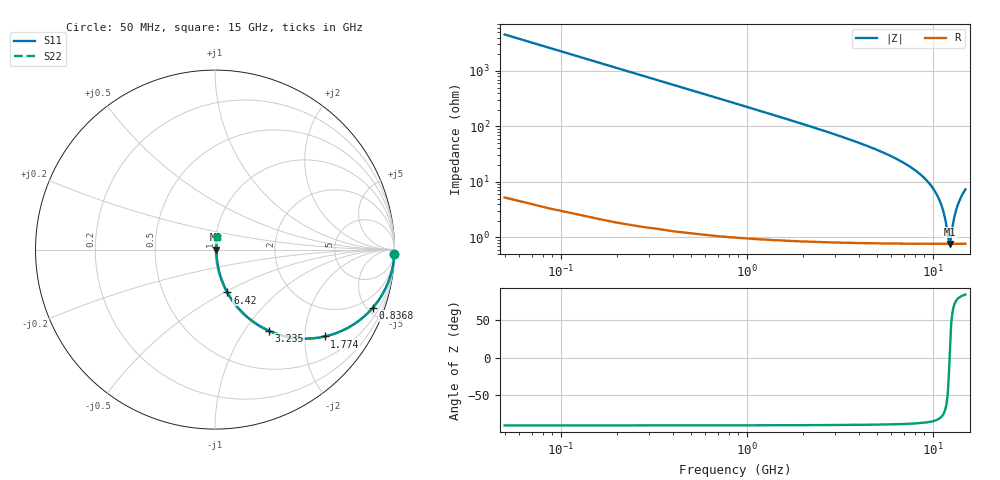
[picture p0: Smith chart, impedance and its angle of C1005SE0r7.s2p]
!	AVX	Thin	Film	Operation
!	Date:	March 2012
!	Description: Ultra-Miniature 01005 Size ACCU - P® Thin Film RF / Microwave Capacitor
!	Part Number:  C005YJ0R7ABSTR
!	Serial	Measurements
#	MHz	S	db	R	50
!	S11	S21	S12	S22
!	dB	Phase	dB	Phase	dB	Phase	dB	Phase
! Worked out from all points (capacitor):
!   400 points, 50 MHz to 15 GHz, reference 50 ohm
!   read as one part in series: C = 700 fF near 124.9 MHz
!   lowest |Z| = 764 mohm at 12.34 GHz (marker M1)
!   series resonance near 12.33 GHz, so ESL is about 240 pH
!   S11 on the Smith chart (normalised r, x): 50 MHz: 1, -91; 836.8 MHz: 1.02, -5.41; 1.774 GHz: 1.02, -2.51; 3.235 GHz: 1.02, -1.31; 6.42 GHz: 1.02, -0.52; 15 GHz: 1.02, +0.15
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50  -0.00 -1.3  -33.16 88.7  -33.16 88.7  -0.00 -1.3
87.469  -0.01 -2.2  -28.30 87.7  -28.30 87.7  -0.01 -2.2
124.937  -0.01 -3.1  -25.21 86.8  -25.21 86.8  -0.01 -3.1
274.812  -0.07 -6.9  -18.41 83.0  -18.41 83.0  -0.07 -6.9
499.624  -0.21 -12.4  -13.36 77.4  -13.36 77.4  -0.21 -12.4
836.842  -0.57 -20.3  -9.21 69.5  -9.21 69.5  -0.57 -20.3
1773.559  -2.16 -38.4  -4.14 51.2  -4.14 51.2  -2.16 -38.4
2560.401  -3.82 -49.3  -2.40 40.1  -2.40 40.1  -3.82 -49.3
3234.837  -5.28 -56.3  -1.60 33.0  -1.60 33.0  -5.28 -56.3
5070.802  -9.20 -68.5  -0.62 20.3  -0.62 20.3  -9.20 -68.5
6419.674  -12.10 -73.9  -0.34 14.4  -0.34 14.4  -12.10 -73.9
7543.734  -14.70 -77.1  -0.22 10.6  -0.22 10.6  -14.70 -77.1
10016.67  -22.30 -80.0  -0.09 4.4  -0.09 4.4  -22.30 -80.0
11328.07  -29.91 -74.5  -0.07 1.8  -0.07 1.8  -29.91 -74.5
11702.76  -33.73 -67.3  -0.07 1.1  -0.07 1.1  -33.73 -67.3
12189.85  -41.24 -28.7  -0.07 0.2  -0.07 0.2  -41.24 -28.7
12339.72  -42.40 2.0  -0.07 -0.0  -0.07 -0.0  -42.40 2.0
12527.07  -40.41 37.0  -0.07 -0.3  -0.07 -0.3  -40.41 37.0
12939.22  -34.34 65.7  -0.07 -1.0  -0.07 -1.0  -34.34 65.7
13426.32  -29.87 74.6  -0.07 -1.8  -0.07 -1.8  -29.87 74.6
14100.75  -26.06 78.4  -0.08 -2.8  -0.08 -2.8  -26.06 78.4
15000  -22.81 79.9  -0.09 -4.1  -0.09 -4.1  -22.81 79.9
